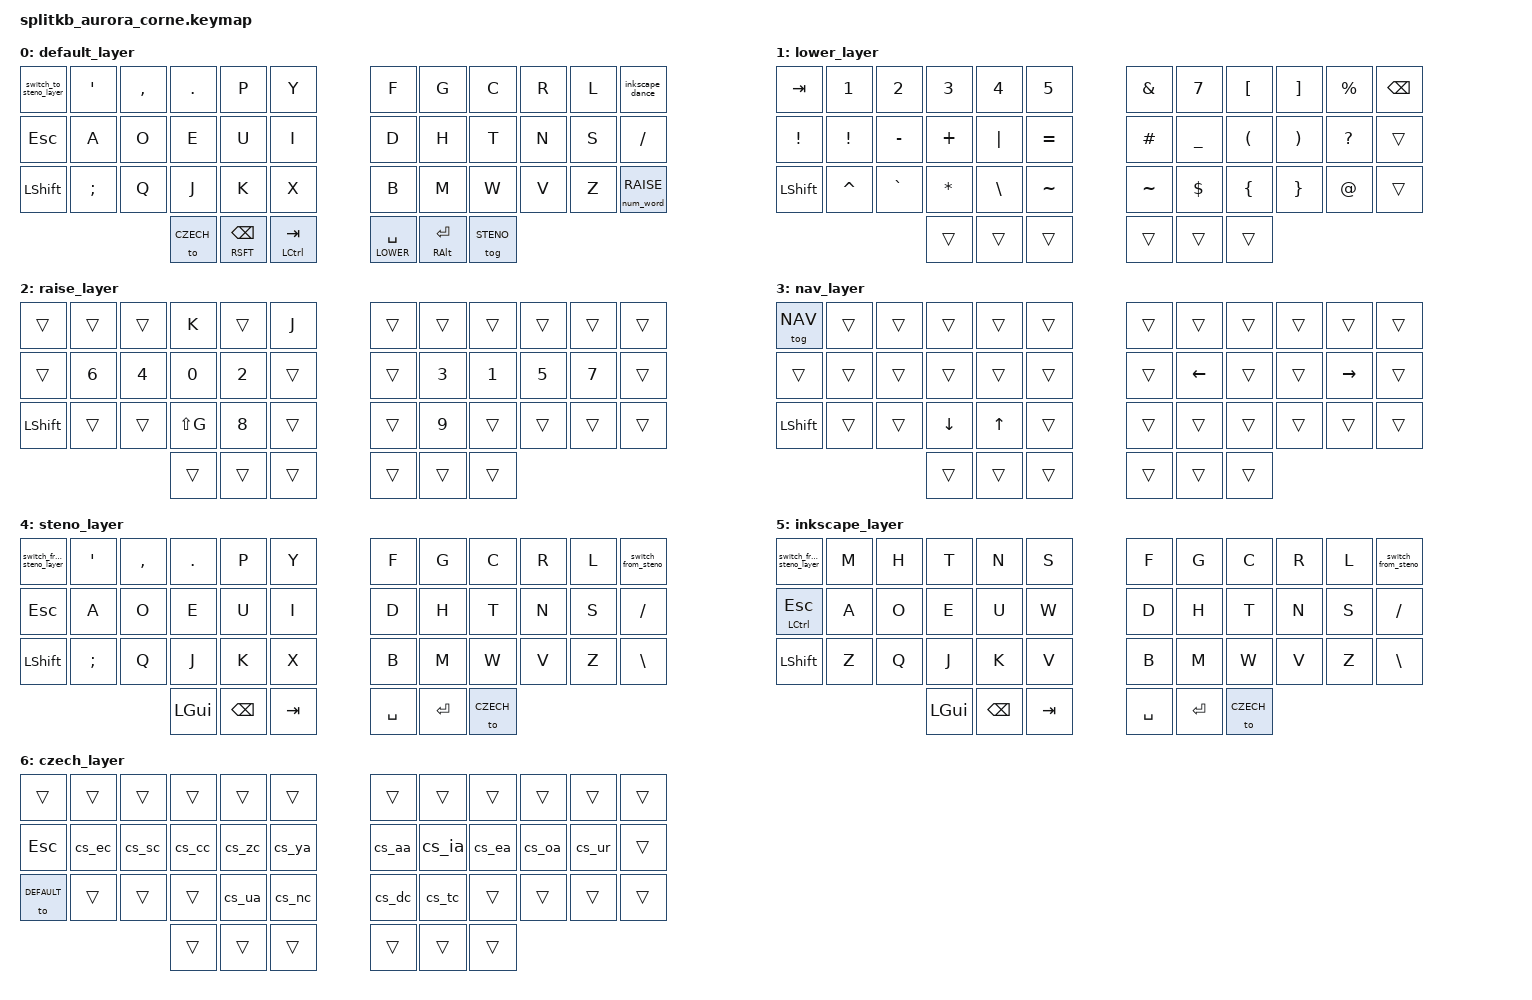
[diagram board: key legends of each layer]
#include <behaviors.dtsi>
#include <dt-bindings/zmk/keys.h>
#include <dt-bindings/zmk/bt.h>
#include <dt-bindings/zmk/rgb.h>

#define DEFAULT 0
#define LOWER   1
#define RAISE   2
#define NAV     3
#define STENO   4
#define INKSCAPE 5
#define CZECH   6

#define HOST_OS 1

#include "zmk-helpers/helper.h"
#include "zmk-helpers/unicode-chars/czech.dtsi"

#define KEYS_L LT0 LT1 LT2 LT3 LT4 LM0 LM1 LM2 LM3 LM4 LB0 LB1 LB2 LB3 LB4  // left hand
#define KEYS_R RT0 RT1 RT2 RT3 RT4 RM0 RM1 RM2 RM3 RM4 RB0 RB1 RB2 RB3 RB4  // right hand

#include "combos.dtsi"  // must be sources after HRM-combo hack

#define MAKE_HRM(NAME, HOLD, TAP, TRIGGER_POS) \
    ZMK_HOLD_TAP(NAME, \
        flavor = "balanced"; \
        tapping-term-ms = <280>; \
        quick-tap-ms = <QUICK_TAP_MS>; \
        require-prior-idle-ms = <150>; \
        bindings = <HOLD>, <TAP>; \
        hold-trigger-key-positions = <TRIGGER_POS>; \
        hold-trigger-on-release; \
    )
#define ZMK_COMBO_8(NAME, TAP, KEYPOS, LAYERS, COMBO_TERM, COMBO_IDLE, HOLD, SIDE) \
    MAKE_HRM(hm_combo_ ## NAME, &kp, TAP, SIDE THUMBS) \
    ZMK_COMBO_6(NAME, &hm_combo_ ## NAME HOLD 0, KEYPOS, LAYERS, COMBO_TERM, COMBO_IDLE)


#define SIMPLE_MORPH(NAME, MOD, BINDING1, BINDING2) \
    ZMK_MOD_MORPH(NAME, \
        mods = <(MOD_L ## MOD|MOD_R ## MOD)>; \
        bindings = <BINDING1>, <BINDING2>; \
    )


SIMPLE_MORPH(lpar_lt, SFT, &kp LPAR, &kp LT)
SIMPLE_MORPH(rpar_gt, SFT, &kp RPAR, &kp GT)

ZMK_TAP_DANCE(inkscape_dance, bindings = <&switch_to_steno>, <&switch_to_inkscape>;
              tapping-term-ms = <200>;)

&led_strip {
    chain-length = <27>;
};

/ {
    macros {
        switch_to_steno: switch_to_steno {
            compatible = "zmk,behavior-macro";
            #binding-cells = <0>;
            bindings
                = 
                <&macro_press &kp H &kp W &kp N &kp Z>,
                <&macro_release &kp H &kp W &kp N &kp Z>,
                <&macro_tap &to STENO>,
                <&macro_tap &rgb_ug RGB_COLOR_HSB(107,100,60)>
                ;
        };
        switch_from_steno: switch_from_steno {
            compatible = "zmk,behavior-macro";
            #binding-cells = <0>;
            bindings
                = 
                <&macro_press &kp H &kp W &kp N &kp Z>,
                <&macro_release &kp H &kp W &kp N &kp Z>,
                <&macro_tap &to DEFAULT>,
                <&macro_tap &rgb_ug RGB_COLOR_HSB(8,100,100)>
                ;
        };
        switch_to_inkscape: switch_to_inkscape {
            compatible = "zmk,behavior-macro";
            #binding-cells = <0>;
            bindings
                = 
                <&macro_press &kp H &kp W &kp N &kp Z &kp S>,
                <&macro_release &kp H &kp W &kp N &kp Z &kp S>,
                <&macro_tap &to INKSCAPE>,
                <&macro_tap &rgb_ug RGB_COLOR_HSB(250,100,100)>
                ;
        };
        switch_to_steno_layer: switch_to_steno_layer {
            compatible = "zmk,behavior-macro";
            #binding-cells = <0>;
            bindings
                = 
                <&macro_tap &to STENO>,
                <&macro_tap &rgb_ug RGB_COLOR_HSB(107,100,60)>
                ;
        };
        switch_from_steno_layer: switch_from_steno_layer {
            compatible = "zmk,behavior-macro";
            #binding-cells = <0>;
            bindings
                = 
                <&macro_tap &to DEFAULT>,
                <&macro_tap &rgb_ug RGB_COLOR_HSB(8,100,100)>
                ;
        };
    };
        behaviors {
             /omit-if-no-ref/ num_word: num_word {
                compatible = "zmk,behavior-auto-layer";
                #binding-cells = <1>;
                continue-list = <BACKSPACE DELETE DOT COMMA PLUS MINUS STAR FSLH EQUAL>;
                ignore-numbers;
            };
            hm: homerow_mods {
                compatible = "zmk,behavior-hold-tap";
                //label = "HOMEROW_MODS";
                #binding-cells = <2>;
                tapping-term-ms = <150>;
                quick-tap-ms = <0>;
                flavor = "tap-preferred";
                bindings = <&kp>, <&kp>;
            };
        };

        keymap {
                compatible = "zmk,keymap";

                default_layer {
// -----------------------------------------------------------------------------------------
// |  TAB |  Q  |  W  |  E  |  R  |  T  |   |  Y  |  U   |  I  |  O  |  P  | BKSP |
// | CTRL |  A  |  S  |  D  |  F  |  G  |   |  H  |  J   |  K  |  L  |  ;  |  '   |
// | SHFT |  Z  |  X  |  C  |  V  |  B  |   |  N  |  M   |  ,  |  .  |  /  | ESC  |
//                    | GUI | LWR | SPC |   | ENT | RSE  | ALT |
                        bindings = <
   &switch_to_steno_layer &kp SQT &kp COMMA &kp DOT &kp P &kp Y   &kp F &kp G  &kp C     &kp R   &kp L    &inkscape_dance
   &kp ESC   &kp A &kp O &kp E &kp U &kp I           &kp D &kp H  &kp T     &kp N   &kp S    &kp FSLH
   &kp LSHFT &kp SEMI &kp Q &kp J &kp K &kp X        &kp B &kp M  &kp W     &kp V   &kp Z    &num_word RAISE
                  &to CZECH &hm RSFT BKSP &hm LCTRL TAB           &lt LOWER SPACE &hm RALT RET &tog STENO
                        >;
                };
                lower_layer {
// -----------------------------------------------------------------------------------------
// |  TAB |  1  |  2  |  3  |  4  |  5  |   |  6  |  7  |  8  |  9  |  0  | BKSP |
// | BTCLR| BT1 | BT2 | BT3 | BT4 | BT5 |   | LFT | DWN |  UP | RGT |     |      |
// | SHFT |     |     |     |     |     |   |     |     |     |     |     |      |
//                    | GUI |     | SPC |   | ENT |     | ALT |
                        bindings = <
   &kp TAB    &kp N1       &kp N2       &kp N3       &kp N4       &kp N5         &kp AMPS   &kp N7      &kp LBKT &kp RBKT &kp PRCNT &kp BSPC
   &kp EXCL   &kp EXCL     &kp MINUS    &kp PLUS     &kp PIPE     &kp EQUAL      &kp HASH   &kp UNDER   &kp LPAR &kp RPAR &kp QMARK &trans
   &kp LSHFT  &kp CARET    &kp GRAVE    &kp ASTRK    &kp BSLH     &kp TILDE      &kp TILDE     &kp DOLLAR  &kp LBRC &kp RBRC &kp AT &trans
                                    &trans     &trans       &trans     &trans  &trans   &trans
                        >;
                };

                raise_layer {
// -----------------------------------------------------------------------------------------
// |  TAB |  !  |  @  |  #  |  $  |  %  |   |  ^  |  &  |  *  |  (  |  )  | BKSP |
// | CTRL |     |     |     |     |     |   |  -  |  =  |  [  |  ]  |  \  |  `   |
// | SHFT |     |     |     |     |     |   |  _  |  +  |  {  |  }  | "|" |  ~   |
//                    | GUI |     | SPC |   | ENT |     | ALT |
                        bindings = <
   &trans  &trans &trans &kp K &trans &kp J   &trans &trans &trans &trans &trans &trans
   &trans &kp NUMBER_6 &kp NUMBER_4 &kp NUMBER_0 &kp NUMBER_2   &trans      &trans &kp NUMBER_3 &kp NUMBER_1 &kp NUMBER_5 &kp NUMBER_7 &trans
   &kp LSHFT &trans   &trans &kp LS(G)   &kp NUMBER_8   &trans      &trans &kp NUMBER_9 &trans &trans &trans &trans
                             &trans &trans   &trans   &trans   &trans    &trans
                        >;
                };

                nav_layer {
                        bindings = <
   &tog NAV  &trans &trans &trans &trans &trans      &trans &trans &trans &trans &trans &trans
   &trans    &trans &trans &trans &trans &trans      &trans &kp LEFT &trans &trans &kp RIGHT &trans
   &kp LSHFT &trans &trans &kp DOWN &kp UP &trans    &trans &trans &trans &trans &trans &trans
                           &trans &trans &trans      &trans &trans &trans
                        >;
                };
                steno_layer {
                        bindings = <
   &switch_from_steno_layer &kp SQT &kp COMMA &kp DOT &kp P &kp Y   &kp F &kp G  &kp C     &kp R   &kp L    &switch_from_steno
   &kp ESC  &kp A &kp O &kp E &kp U &kp I           &kp D &kp H  &kp T     &kp N   &kp S    &kp FSLH
   &kp LSHFT &kp SEMI &kp Q &kp J &kp K &kp X        &kp B &kp M  &kp W     &kp V   &kp Z    &kp BSLH
                  &kp LGUI &kp BKSP &kp TAB           &kp SPACE &kp RET &to CZECH
                        >;
                };
                inkscape_layer {
                        bindings = <
   &switch_from_steno_layer &kp M &kp H &kp T &kp N &kp S   &kp F &kp G  &kp C     &kp R   &kp L    &switch_from_steno
   &hm LCTRL ESC &kp A &kp O &kp E &kp U &kp W           &kp D &kp H  &kp T     &kp N   &kp S    &kp FSLH
   &kp LSHFT &kp Z &kp Q &kp J &kp K &kp V        &kp B &kp M  &kp W     &kp V   &kp Z    &kp BSLH
                  &kp LGUI &kp BKSP &kp TAB           &kp SPACE &kp RET &to CZECH
                        >;
                };
                czech_layer {
                        bindings = <
   &trans &trans &trans &trans &trans &trans              &trans &trans  &trans     &trans   &trans    &trans
   &kp ESC   &cs_ec &cs_sc &cs_cc &cs_zc &cs_ya           &cs_aa &cs_ia  &cs_ea     &cs_oa   &cs_ur    &trans
   &to DEFAULT &trans &trans &trans &cs_ua &cs_nc              &cs_dc &cs_tc  &trans     &trans   &trans    &trans
                  &trans &trans &trans                    &trans &trans &trans
                        >;
                };
        };
};
